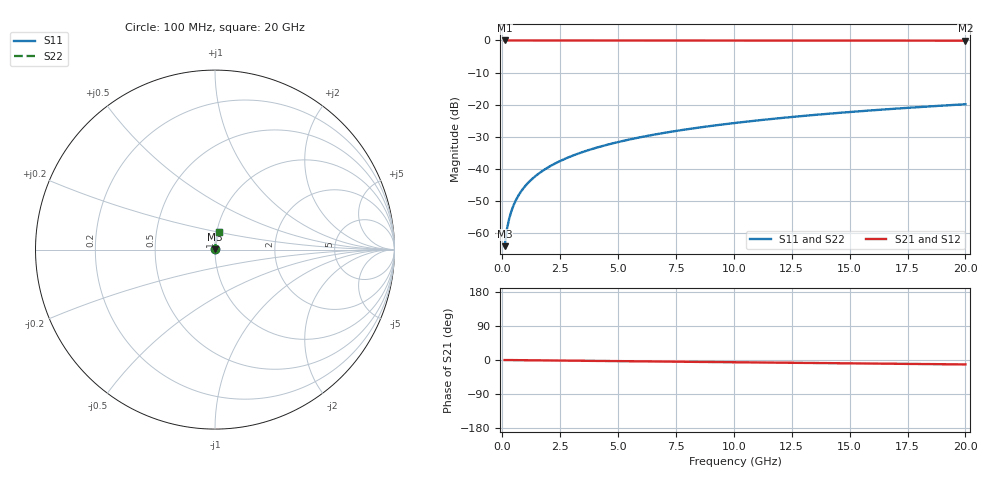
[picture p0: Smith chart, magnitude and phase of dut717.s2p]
! Touchstone file exported from HFSS 2026.1.0
!  File:  C:/ffzhzh/LocalFiles/Ansys_Project_Files/temp_train_TSV_717_1783182208_22436.aedt
!  Generated:  12:25:11 AM Jul  5, 2026
!  Design:  TSV
!  Project:  temp_train_TSV_717_1783182208_22436
! Variables:
!  h_bsmrdl = 2um
!  h_ox = 20um
!  h_rdl = 5um
!  h_sub = 97.81um
!  h_tmrdl = 5um
!  h_tsv = 97.81um
!  h_via = 3um
!  l_bsmrdl = 300um
!  l_sub = 413.14um
!  l_tmrdl = 200um
!  m_sub = 200um
!  pitch = 59.98um
!  r_tsv = 6.57um
!  s_tmrdl = 10um
!  w_bsmrdl = 18um
!  w_sub = 500um
!  w_tmrdl = 12um
!  x_tsv_center1 = 206um
!  x_tsv_center2 = 524um
!  x_tsv_center3 = 736um
!  x_tsv_center4 = 1054um
!  x_tsv_center5 = 1266um
!  x_tsv_center6 = 1584um
# GHz S MA R 50.000000
! Terminal data exported
! Port[1] = TSV1_1_T1
! Port[2] = TSV1_1_T2
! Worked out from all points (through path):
!   200 points, 100 MHz to 20 GHz, reference 50 ohm
!   highest |S21| = 0.00 dB at 100 MHz (marker M1); lowest = -0.1 dB at 20 GHz (marker M2)
!   group delay of S21, straight-line fit = 1.62 ps
!   lowest |S11| = -64.0 dB at 100 MHz (marker M3), VSWR 1.00, Z = 50 + j0.0564 ohm
!   |S11| at or under -10 dB: start of sweep to end of sweep
!   |S22| runs from -64.0 to -19.8 dB; largest |S21 - S12| = 3.6e-15
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0.1  0.0006341 62.7  0.9997 -0.1  0.9997 -0.1  0.0006341 62.7
! Gamma 0 0 0 0
! Port Impedance 50 0 50 0
0.2  0.001165 75.0  0.9997 -0.1  0.9997 -0.1  0.001165 75.0
0.3  0.001714 79.3  0.9997 -0.2  0.9997 -0.2  0.001714 79.3
0.4  0.002265 81.3  0.9997 -0.2  0.9997 -0.2  0.002265 81.3
0.5  0.002814 82.5  0.9996 -0.3  0.9996 -0.3  0.002814 82.5
0.6  0.003359 83.2  0.9996 -0.4  0.9996 -0.4  0.003359 83.2
0.7  0.003901 83.7  0.9996 -0.4  0.9996 -0.4  0.003901 83.7
0.8  0.00444 84.0  0.9996 -0.5  0.9996 -0.5  0.00444 84.0
1  0.005508 84.5  0.9995 -0.6  0.9995 -0.6  0.005508 84.5
1.4  0.007622 85.0  0.9994 -0.8  0.9994 -0.8  0.007622 85.0
1.7  0.009197 85.2  0.9993 -1.0  0.9993 -1.0  0.009197 85.2
2  0.01077 85.3  0.9993 -1.2  0.9993 -1.2  0.01077 85.3
2.7  0.01442 85.4  0.9991 -1.6  0.9991 -1.6  0.01442 85.4
3.5  0.01858 85.3  0.999 -2.1  0.999 -2.1  0.01858 85.3
4.2  0.02221 85.1  0.9988 -2.5  0.9988 -2.5  0.02221 85.1
5  0.02634 84.8  0.9986 -3.0  0.9986 -3.0  0.02634 84.8
6.8  0.0356 84.1  0.9982 -4.0  0.9982 -4.0  0.0356 84.1
8.3  0.04327 83.4  0.9978 -4.9  0.9978 -4.9  0.04327 83.4
10.1  0.05243 82.5  0.9972 -6.0  0.9972 -6.0  0.05243 82.5
13.4  0.06912 80.8  0.996 -7.9  0.996 -7.9  0.06912 80.8
16.7  0.08564 79.0  0.9945 -9.8  0.9945 -9.8  0.08564 79.0
20  0.102 77.2  0.9928 -11.7  0.9928 -11.7  0.102 77.2
